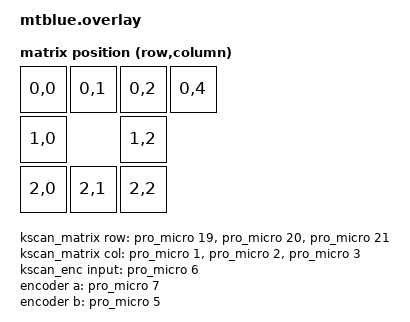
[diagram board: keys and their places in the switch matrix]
/*
 * Copyright (c) 2022 The ZMK Contributors
 *
 * SPDX-License-Identifier: MIT
 */
#include <nordic/nrf52840_qiaa.dtsi>
#include <dt-bindings/zmk/matrix_transform.h>

&pinctrl {
    qdec_default: qdec_default {
        group1 {
            psels = <NRF_PSEL(QDEC_A, 0, 30 )>,
                    <NRF_PSEL(QDEC_B, 0, 31)>;
            bias-pull-up;
        };
    };
};

/ {
    chosen {
        zmk,kscan = &kscan;
        zmk,matrix_transform = &transform;
    };

    kscan: kscan {
        compatible = "zmk,kscan-composite";
        label = "KSCAN";
        rows = <3>;
        columns = <4>;

        matrix {
            kscan = <&kscan_matrix>;
        };

        direct {
            kscan = <&kscan_enc>;
            column-offset = <4>; // 위쪽 map에 RC(0,4)에 해당하는 column인 4가 여기에 해당
        };
    };

    kscan_matrix: kscan_matrix {
        compatible = "zmk,kscan-gpio-matrix";
        label = "KSCAN_MATRIX";

        diode-direction = "col2row"; 

        col-gpios
            = <&pro_micro 1 GPIO_ACTIVE_HIGH>
            , <&pro_micro 2 GPIO_ACTIVE_HIGH>
            , <&pro_micro 3 GPIO_ACTIVE_HIGH>
            ;
        row-gpios
            = <&pro_micro 19 (GPIO_ACTIVE_HIGH | GPIO_PULL_DOWN)>
            , <&pro_micro 20 (GPIO_ACTIVE_HIGH | GPIO_PULL_DOWN)>
            , <&pro_micro 21 (GPIO_ACTIVE_HIGH | GPIO_PULL_DOWN)>
            ;
    };
    
    kscan_enc: kscan_enc {
        compatible = "zmk,kscan-gpio-direct";
        label = "KSCAN_ENC";
        input-gpios
            = <&pro_micro 6 (GPIO_ACTIVE_LOW | GPIO_PULL_UP)>
            ;
    };

    transform: transform {
        compatible = "zmk,matrix-transform";
        rows = <3>;
        columns = <4>;

        map = <
        RC(0,0) RC(0,1) RC(0,2) RC(0,4)
        RC(1,0)         RC(1,2)
        RC(2,0) RC(2,1) RC(2,2)

        >;
    }; 
};

    &i2c0 {
        status = "okay";
        compatible = "nordic, nrf-twi";
        clock-frequency = <400000>;
        pinctrl-0 = <&i2c0_default>;
        pinctrl-1 = <&i2c0_sleep>;
        pinctrl-names = "default", "sleep";

        mcp_io: mcp23017@20 {
            compatible = "microchip,mcp23017"; // device name
            status = "okay"; // indicate the operational status of the device
            reg = <0x20>; // I2C address

            gpio-controller;
            #gpio-cells = <2>; // numter of items to expect in a gpio specifier
            interrupt-parent = <&gpio1>; // phandle to the interrupt controller
            interrupts = <16 0x2>; // Falling edge
            interrupt-controller;
            #interrupt-cells = <2>;
            interrupt-controller;
    }

   encoder: encoder {
        compatible = "alps,ec11";
        label = "ENCODER";
        resolution = <4>;
        a-gpios = <&pro_micro 7 (GPIO_ACTIVE_HIGH | GPIO_PULL_UP)>; // DT (B)
        b-gpios = <&pro_micro 5 (GPIO_ACTIVE_HIGH | GPIO_PULL_UP)>; // CLK (A)
    };
    sensors {
        compatible = "zmk,keymap-sensors";
        sensors = <&encoder>;
    };
};
